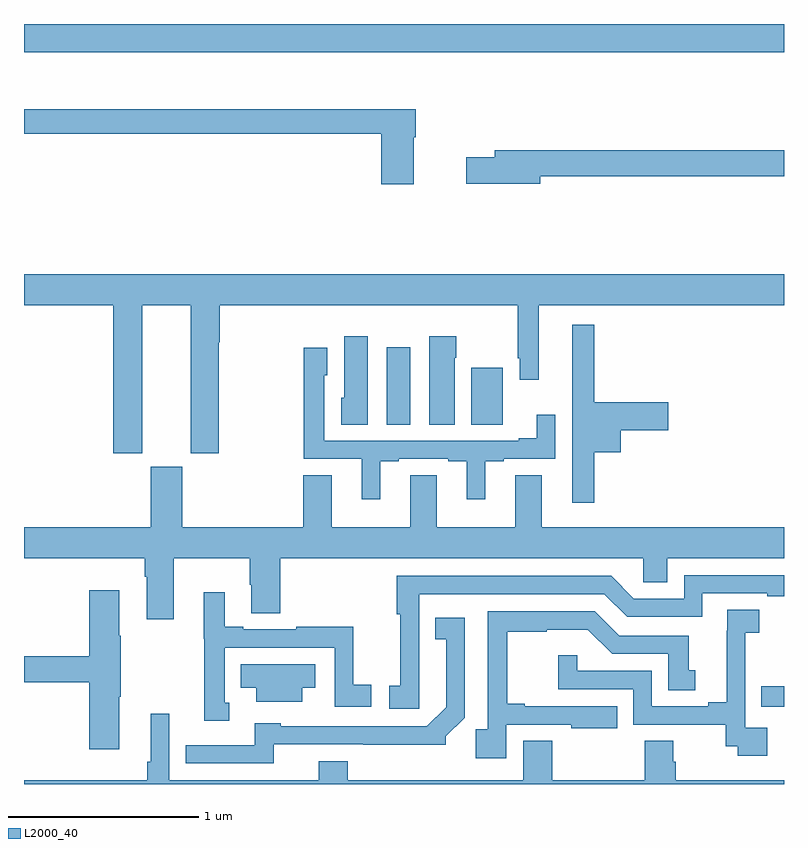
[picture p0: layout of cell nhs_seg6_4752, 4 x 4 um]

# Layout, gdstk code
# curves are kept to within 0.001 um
import gdstk
lib = gdstk.Library(unit=1e-6, precision=1e-09)
def R(c, l, rs):  # rectangles x0, y0, x1, y1
    for r in rs: c.add(gdstk.rectangle(r[:2], r[2:], *l))
def P(c, l, *ps):  # polygons
    for p in ps: c.add(gdstk.Polygon(p, *l))
L2000_40 = (2000, 40)

nhs_seg6_4752 = lib.new_cell('nhs_seg6_4752')
R(nhs_seg6_4752, L2000_40, [(396.88,927.906,397,928.015), (394.91,929.392,395.032,929.8), (395.354,929.392,395.521,929.692), (393,931.352,397,931.5)])
P(nhs_seg6_4752, L2000_40, [(395.05,930.905),(395.063,930.905),(395.063,931.051),(393,931.051),(393,930.922),(394.88,930.922),(394.88,930.657),(395.05,930.657)],
  [(395.716,930.7),(397,930.7),(397,930.836),(395.477,930.836),(395.477,930.8),(395.328,930.8),(395.328,930.658),(395.716,930.658)],
  [(393,930.02),(393.47,930.02),(393.47,929.241),(393.622,929.241),(393.622,930.02),(393.878,930.02),(393.878,929.241),(394.026,929.241),(394.026,929.824),(394.031,929.824),(394.031,930.02),(395.598,930.02),(395.598,929.74),(395.61,929.74),(395.61,929.628),(395.708,929.628),(395.708,930.02),(397,930.02),(397,930.184),(393,930.184)],
  [(396.002,929.246),(396.142,929.246),(396.142,929.363),(396.391,929.363),(396.391,929.51),(396.002,929.51),(396.002,929.917),(395.885,929.917),(395.885,929.493),(395.886,929.493),(395.886,928.98),(396.002,928.98)],
  [(394.81,929.857),(394.685,929.857),(394.685,929.532),(394.67,929.532),(394.67,929.392),(394.81,929.392)],
  [(395.266,929.744),(395.274,929.744),(395.274,929.857),(395.132,929.857),(395.132,929.392),(395.266,929.392)],
  [(394.876,929.199),(394.972,929.199),(394.972,929.211),(395.234,929.211),(395.234,929.199),(395.33,929.199),(395.33,928.998),(395.428,928.998),(395.428,929.199),(395.524,929.199),(395.524,929.211),(395.796,929.211),(395.796,929.443),(395.699,929.443),(395.699,929.32),(395.603,929.32),(395.603,929.307),(394.581,929.307),(394.581,929.652),(394.597,929.652),(394.597,929.797),(394.473,929.797),(394.473,929.211),(394.778,929.211),(394.778,928.998),(394.876,928.998)],
  [(393.787,928.688),(394.189,928.688),(394.189,928.55),(394.196,928.55),(394.196,928.399),(394.349,928.399),(394.349,928.688),(396.258,928.688),(396.258,928.561),(396.385,928.561),(396.385,928.688),(397,928.688),(397,928.852),(395.725,928.852),(395.725,929.126),(395.585,929.126),(395.585,928.852),(395.173,928.852),(395.173,929.126),(395.033,929.126),(395.033,928.852),(394.621,928.852),(394.621,929.126),(394.469,929.126),(394.469,928.852),(393.832,928.852),(393.832,929.169),(393.668,929.169),(393.668,928.852),(393,928.852),(393,928.688),(393.635,928.688),(393.635,928.592),(393.647,928.592),(393.647,928.368),(393.787,928.368)],
  [(395.08,928.172),(395.079,928.5),(396.054,928.5),(396.174,928.38),(396.57,928.38),(396.57,928.503),(396.911,928.503),(396.911,928.488),(397,928.488),(397,928.599),(396.474,928.599),(396.474,928.476),(396.21,928.476),(396.09,928.596),(394.963,928.596),(394.963,928.393),(394.981,928.393),(394.981,928.017),(394.923,928.017),(394.923,927.897),(395.08,927.897)],
  [(393.502,927.959),(393.51,927.959),(393.51,928.28),(393.502,928.28),(393.502,928.519),(393.344,928.519),(393.344,928.172),(393,928.172),(393,928.036),(393.344,928.036),(393.344,927.684),(393.502,927.684)],
  [(394.081,927.927),(394.056,927.927),(394.056,928.218),(394.635,928.218),(394.635,927.906),(394.828,927.906),(394.828,928.022),(394.734,928.022),(394.734,928.327),(394.432,928.327),(394.432,928.314),(394.153,928.314),(394.153,928.327),(394.057,928.327),(394.057,928.51),(393.947,928.51),(393.947,928.265),(393.948,928.265),(393.948,927.833),(394.081,927.833)],
  [(396.913,927.795),(396.795,927.795),(396.795,928.099),(396.797,928.099),(396.797,928.297),(396.871,928.297),(396.871,928.418),(396.7,928.418),(396.7,928.307),(396.698,928.307),(396.698,927.929),(396.602,927.929),(396.602,927.909),(396.303,927.909),(396.303,928.095),(395.913,928.095),(395.913,928.177),(395.812,928.177),(395.812,927.999),(396.207,927.999),(396.207,927.813),(396.694,927.813),(396.694,927.699),(396.757,927.699),(396.757,927.648),(396.913,927.648)],
  [(395.538,927.813),(395.879,927.813),(395.879,927.794),(396.122,927.794),(396.122,927.909),(395.635,927.909),(395.635,927.922),(395.543,927.922),(395.543,928.302),(395.75,928.302),(395.75,928.313),(395.968,928.313),(396.096,928.185),(396.392,928.185),(396.392,927.994),(396.532,927.994),(396.532,928.098),(396.499,928.098),(396.499,928.281),(396.132,928.281),(396.003,928.41),(395.442,928.41),(395.442,927.787),(395.377,927.787),(395.377,927.636),(395.538,927.636)],
  [(394.314,927.708),(395.22,927.707),(395.22,927.751),(395.319,927.85),(395.319,928.375),(395.164,928.375),(395.164,928.262),(395.222,928.262),(395.222,927.905),(395.121,927.804),(394.35,927.804),(394.35,927.82),(394.214,927.82),(394.214,927.705),(393.85,927.705),(393.85,927.609),(394.314,927.609)],
  [(394.465,928.007),(394.534,928.007),(394.534,928.129),(394.141,928.129),(394.141,928.007),(394.223,928.007),(394.223,927.932),(394.465,927.932)],
  [(397,927.52),(396.431,927.52),(396.431,927.618),(396.418,927.618),(396.418,927.728),(396.266,927.728),(396.266,927.52),(395.78,927.52),(395.78,927.728),(395.627,927.728),(395.627,927.52),(394.703,927.52),(394.703,927.619),(394.55,927.619),(394.55,927.52),(393.765,927.52),(393.765,927.871),(393.668,927.871),(393.668,927.616),(393.649,927.616),(393.649,927.52),(393,927.52),(393,927.5),(397,927.5)])

lib.write_gds('nhs_seg6_4752.gds')
